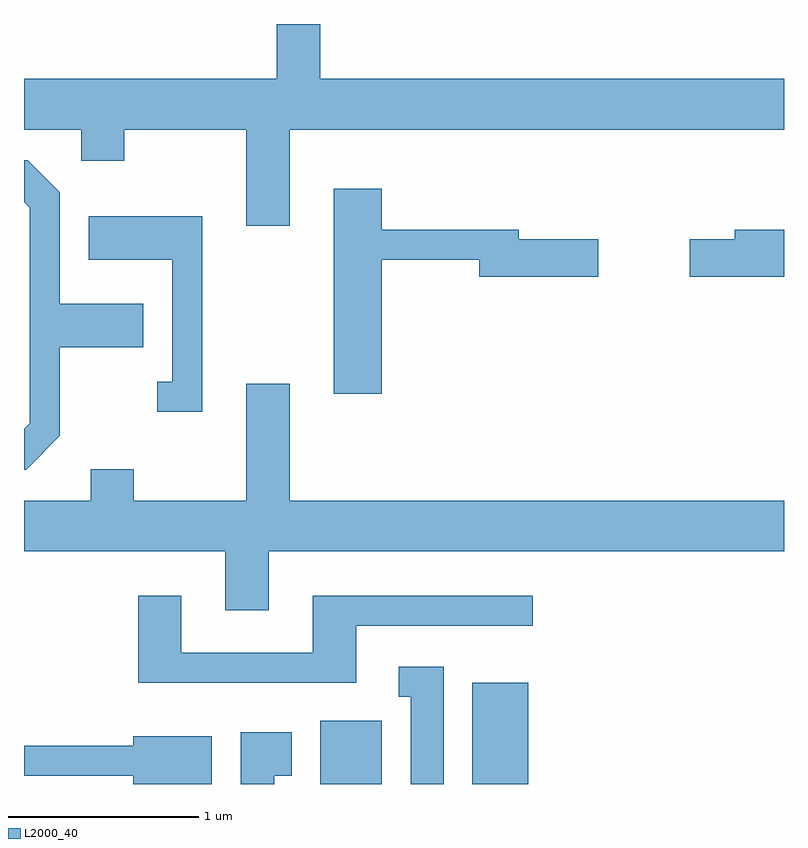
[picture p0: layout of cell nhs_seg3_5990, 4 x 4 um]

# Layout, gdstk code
import gdstk
lib = gdstk.Library(unit=1e-6, precision=1e-09)
def R(c, l, rs):  # rectangles x0, y0, x1, y1
    for r in rs: c.add(gdstk.rectangle(r[:2], r[2:], *l))
def P(c, l, *ps):  # polygons
    for p in ps: c.add(gdstk.Polygon(p, *l))
L2000_40 = (2000, 40)

nhs_seg3_5990 = lib.new_cell('nhs_seg3_5990')
R(nhs_seg3_5990, L2000_40, [(363.171,1135.892,363.494,1136.224), (363.971,1135.892,364.264,1136.424)])
P(nhs_seg3_5990, L2000_40, [(363.009,1139.336),(365.611,1139.336),(365.611,1139.604),(363.169,1139.604),(363.169,1139.892),(362.941,1139.892),(362.941,1139.604),(361.611,1139.604),(361.611,1139.336),(361.911,1139.336),(361.911,1139.171),(362.139,1139.171),(362.139,1139.336),(362.781,1139.336),(362.781,1138.831),(363.009,1138.831)],
  [(361.799,1137.724),(361.799,1138.191),(362.239,1138.191),(362.239,1138.419),(361.799,1138.419),(361.799,1139.007),(361.632,1139.174),(361.611,1139.174),(361.611,1138.954),(361.641,1138.924),(361.641,1137.792),(361.611,1137.762),(361.611,1137.546),(361.622,1137.546)],
  [(363.494,1138.651),(364.006,1138.651),(364.006,1138.561),(364.634,1138.561),(364.634,1138.759),(364.214,1138.759),(364.214,1138.809),(363.494,1138.809),(363.494,1139.024),(363.241,1139.024),(363.241,1137.946),(363.494,1137.946)],
  [(362.549,1138.879),(361.951,1138.879),(361.951,1138.651),(362.391,1138.651),(362.391,1138.009),(362.313,1138.009),(362.313,1137.851),(362.549,1137.851)],
  [(365.611,1138.809),(365.351,1138.809),(365.351,1138.759),(365.116,1138.759),(365.116,1138.561),(365.611,1138.561)],
  [(362.899,1137.116),(365.611,1137.116),(365.611,1137.384),(363.009,1137.384),(363.009,1137.999),(362.781,1137.999),(362.781,1137.384),(362.189,1137.384),(362.189,1137.549),(361.961,1137.549),(361.961,1137.384),(361.611,1137.384),(361.611,1137.116),(362.671,1137.116),(362.671,1136.806),(362.899,1136.806)],
  [(363.359,1136.726),(364.288,1136.726),(364.288,1136.884),(363.131,1136.884),(363.131,1136.584),(362.439,1136.584),(362.439,1136.884),(362.211,1136.884),(362.211,1136.426),(363.359,1136.426)],
  [(363.819,1136.509),(363.583,1136.509),(363.583,1136.351),(363.646,1136.351),(363.646,1135.892),(363.819,1135.892)],
  [(362.929,1135.936),(363.019,1135.936),(363.019,1136.164),(362.751,1136.164),(362.751,1135.892),(362.929,1135.892)],
  [(362.599,1136.144),(362.186,1136.144),(362.186,1136.094),(361.611,1136.094),(361.611,1135.936),(362.186,1135.936),(362.186,1135.892),(362.599,1135.892)])

lib.write_gds('nhs_seg3_5990.gds')
